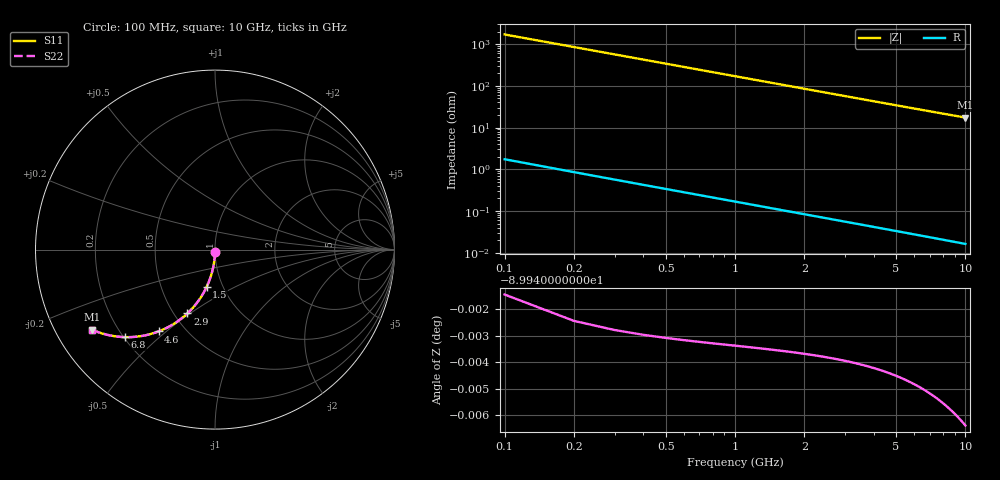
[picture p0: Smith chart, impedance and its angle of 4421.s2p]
# Hz S RI R 50.00
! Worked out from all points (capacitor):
!   100 points, 100 MHz to 10 GHz, reference 50 ohm
!   read as one part in shunt: C = 935 fF near 100 MHz
!   lowest |Z| = 17.4 ohm at 10 GHz (marker M1)
!   S11 on the Smith chart (normalised r, x): 100 MHz: 1.00, -0.03; 1.5 GHz: 0.84, -0.36; 2.9 GHz: 0.58, -0.49; 4.6 GHz: 0.36, -0.47; 6.8 GHz: 0.21, -0.39; 10 GHz: 0.11, -0.29
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1e8  -0.000197 -0.0145  0.9997 -0.0149  0.9997 -0.0149  -0.000197 -0.0145
2e8  -0.000858 -0.029  0.9991 -0.0297  0.9991 -0.0297  -0.000858 -0.029
3e8  -0.00195 -0.0435  0.998 -0.0445  0.998 -0.0445  -0.00195 -0.0435
4e8  -0.00346 -0.0579  0.9965 -0.0592  0.9965 -0.0592  -0.00346 -0.0579
5e8  -0.0054 -0.0722  0.9945 -0.0739  0.9945 -0.0739  -0.0054 -0.0722
6e8  -0.00776 -0.0864  0.9922 -0.0885  0.9922 -0.0885  -0.00776 -0.0864
7e8  -0.0105 -0.1006  0.9894 -0.1029  0.9894 -0.1029  -0.0105 -0.1006
9e8  -0.0173 -0.1284  0.9827 -0.1314  0.9827 -0.1314  -0.0173 -0.1284
1.2e9  -0.0303 -0.1689  0.9697 -0.173  0.9697 -0.173  -0.0303 -0.1689
1.5e9  -0.0465 -0.2075  0.9534 -0.2126  0.9534 -0.2126  -0.0465 -0.2075
1.8e9  -0.0655 -0.244  0.9344 -0.2501  0.9344 -0.2501  -0.0655 -0.244
2.3e9  -0.1027 -0.2992  0.8972 -0.3071  0.8972 -0.3071  -0.1027 -0.2992
2.9e9  -0.1539 -0.3555  0.846 -0.3654  0.846 -0.3654  -0.1539 -0.3555
3.4e9  -0.2 -0.3937  0.7998 -0.4054  0.7998 -0.4054  -0.2 -0.3937
4e9  -0.2571 -0.4297  0.7427 -0.4434  0.7427 -0.4434  -0.2571 -0.4297
4.6e9  -0.314 -0.4557  0.6858 -0.4716  0.6858 -0.4716  -0.314 -0.4557
5.1e9  -0.3601 -0.4708  0.6396 -0.4884  0.6396 -0.4884  -0.3601 -0.4708
5.9e9  -0.4298 -0.4843  0.5699 -0.5048  0.5699 -0.5048  -0.4298 -0.4843
6.7e9  -0.4931 -0.4878  0.5066 -0.5111  0.5066 -0.5111  -0.4931 -0.4878
6.8e9  -0.5005 -0.4876  0.4991 -0.5113  0.4991 -0.5113  -0.5005 -0.4876
8.4e9  -0.6051 -0.4735  0.3944 -0.503  0.3944 -0.503  -0.6051 -0.4735
1e10  -0.6853 -0.446  0.314 -0.4815  0.314 -0.4815  -0.6853 -0.446
